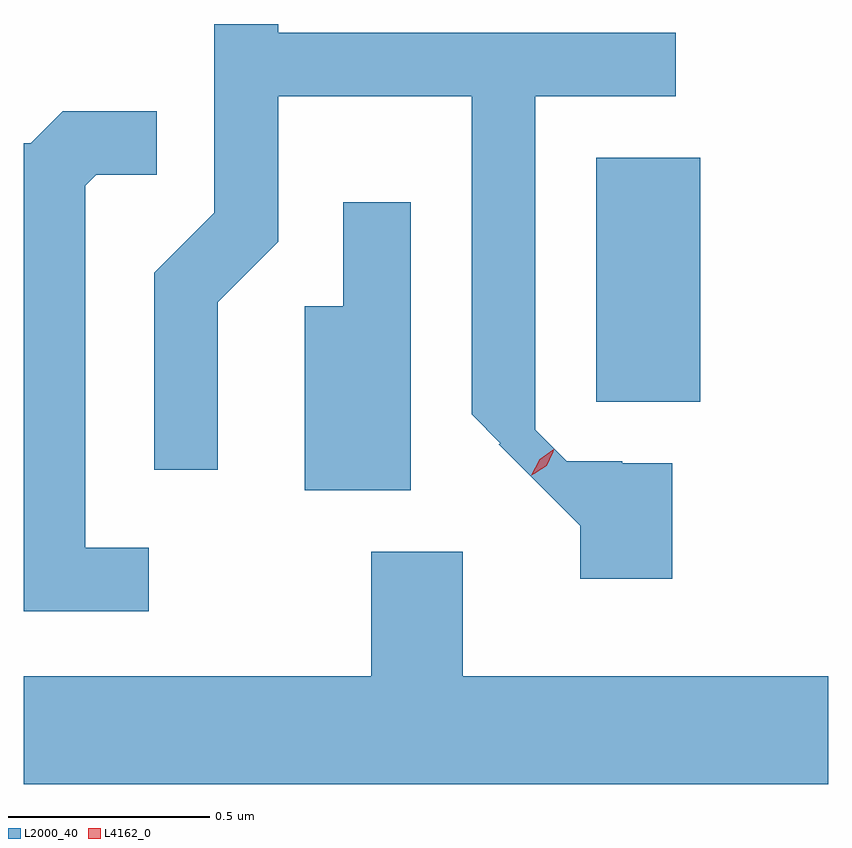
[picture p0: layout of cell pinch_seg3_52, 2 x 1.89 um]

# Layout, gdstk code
import gdstk
lib = gdstk.Library(unit=1e-6, precision=1e-09)
def R(c, l, rs):  # rectangles x0, y0, x1, y1
    for r in rs: c.add(gdstk.rectangle(r[:2], r[2:], *l))
def P(c, l, *ps):  # polygons
    for p in ps: c.add(gdstk.Polygon(p, *l))
L2000_40 = (2000, 40)
L4162_0 = (4162, 0)

pinch_seg3_52 = lib.new_cell('pinch_seg3_52')
R(pinch_seg3_52, L2000_40, [(1129.181,1180.246,1129.439,1180.854)])
P(pinch_seg3_52, L2000_40, [(1129.369,1180.094),(1129.245,1180.094),(1129.245,1180.099),(1129.107,1180.099),(1129.029,1180.177),(1129.029,1181.006),(1129.378,1181.006),(1129.378,1181.164),(1128.389,1181.164),(1128.389,1181.186),(1128.231,1181.186),(1128.231,1180.717),(1128.081,1180.567),(1128.081,1180.078),(1128.239,1180.078),(1128.239,1180.494),(1128.389,1180.644),(1128.389,1181.006),(1128.871,1181.006),(1128.871,1180.215),(1128.942,1180.144),(1128.938,1180.141),(1129.141,1179.938),(1129.141,1179.806),(1129.369,1179.806)],
  [(1128.068,1179.884),(1127.909,1179.884),(1127.909,1180.784),(1127.937,1180.811),(1128.088,1180.811),(1128.088,1180.969),(1127.854,1180.969),(1127.774,1180.889),(1127.757,1180.889),(1127.757,1179.726),(1128.068,1179.726)],
  [(1128.719,1180.743),(1128.551,1180.743),(1128.551,1180.484),(1128.456,1180.484),(1128.456,1180.026),(1128.719,1180.026)],
  [(1129.757,1179.564),(1128.849,1179.564),(1128.849,1179.874),(1128.621,1179.874),(1128.621,1179.564),(1127.757,1179.564),(1127.757,1179.296),(1129.757,1179.296)])
P(pinch_seg3_52, L4162_0, [(1129.019,1180.064),(1129.019,1180.064),(1129.04,1180.103),(1129.075,1180.129),(1129.076,1180.129),(1129.076,1180.128),(1129.055,1180.09),(1129.02,1180.064)],
  [(1129.025,1180.067),(1129.025,1180.068),(1129.042,1180.101),(1129.073,1180.122),(1129.074,1180.122),(1129.074,1180.122),(1129.057,1180.088),(1129.026,1180.067)])

lib.write_gds('pinch_seg3_52.gds')
